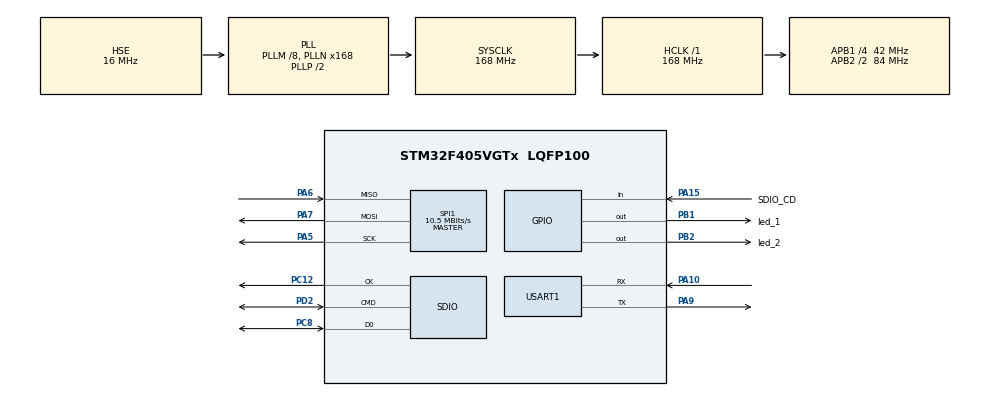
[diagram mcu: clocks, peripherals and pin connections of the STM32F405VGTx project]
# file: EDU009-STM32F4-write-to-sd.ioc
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Dma.Request0=SDIO_RX
Dma.Request1=SDIO_TX
Dma.SDIO_RX.0.Direction=DMA_PERIPH_TO_MEMORY
Dma.SDIO_RX.0.FIFOMode=DMA_FIFOMODE_ENABLE
Dma.SDIO_RX.0.FIFOThreshold=DMA_FIFO_THRESHOLD_FULL
Dma.SDIO_RX.0.Instance=DMA2_Stream3
Dma.SDIO_RX.0.MemBurst=DMA_MBURST_INC4
Dma.SDIO_RX.0.MemDataAlignment=DMA_MDATAALIGN_WORD
Dma.SDIO_RX.0.MemInc=DMA_MINC_ENABLE
Dma.SDIO_RX.0.Mode=DMA_PFCTRL
Dma.SDIO_RX.0.PeriphBurst=DMA_PBURST_INC4
Dma.SDIO_RX.0.PeriphDataAlignment=DMA_PDATAALIGN_WORD
Dma.SDIO_RX.0.PeriphInc=DMA_PINC_DISABLE
Dma.SDIO_RX.0.Priority=DMA_PRIORITY_LOW
Dma.SDIO_TX.1.Direction=DMA_MEMORY_TO_PERIPH
Dma.SDIO_TX.1.FIFOMode=DMA_FIFOMODE_ENABLE
Dma.SDIO_TX.1.FIFOThreshold=DMA_FIFO_THRESHOLD_FULL
Dma.SDIO_TX.1.Instance=DMA2_Stream6
Dma.SDIO_TX.1.MemBurst=DMA_MBURST_INC4
Dma.SDIO_TX.1.MemDataAlignment=DMA_MDATAALIGN_WORD
Dma.SDIO_TX.1.MemInc=DMA_MINC_ENABLE
Dma.SDIO_TX.1.Mode=DMA_PFCTRL
Dma.SDIO_TX.1.PeriphBurst=DMA_PBURST_INC4
Dma.SDIO_TX.1.PeriphDataAlignment=DMA_PDATAALIGN_WORD
Dma.SDIO_TX.1.PeriphInc=DMA_PINC_DISABLE
Dma.SDIO_TX.1.Priority=DMA_PRIORITY_LOW
FATFS.BSP.number=1
FATFS.USE_DMA_CODE_SD=1
FATFS._MAX_SS=4096
FATFS._USE_LFN=1
FATFS0.BSP.STBoard=false
FATFS0.BSP.api=Unknown
FATFS0.BSP.instance=PA15
FATFS0.BSP.ip=GPIO
FATFS0.BSP.mode=Input
FATFS0.BSP.name=Detect_SDIO
FATFS0.BSP.solution=PA15
Mcu.Family=STM32F4
Mcu.Name=STM32F405VGTx
Mcu.Package=LQFP100
NVIC.DMA2_Stream3_IRQn=true\:0\:0\:false\:false\:true\:false\:true\:true
NVIC.DMA2_Stream6_IRQn=true\:0\:0\:false\:false\:true\:false\:true\:true
NVIC.PriorityGroup=NVIC_PRIORITYGROUP_4
NVIC.SDIO_IRQn=true\:0\:0\:false\:false\:true\:true\:true\:true
PA10.Mode=Asynchronous
PA10.Signal=USART1_RX
PA13.Mode=Serial_Wire
PA13.Signal=SYS_JTMS-SWDIO
PA14.Mode=Serial_Wire
PA14.Signal=SYS_JTCK-SWCLK
PA15.GPIO_Label=SDIO_CD
PA15.Signal=GPIO_Input
PA5.Mode=Full_Duplex_Master
PA5.Signal=SPI1_SCK
PA6.Mode=Full_Duplex_Master
PA6.Signal=SPI1_MISO
PA7.Mode=Full_Duplex_Master
PA7.Signal=SPI1_MOSI
PA9.Mode=Asynchronous
PA9.Signal=USART1_TX
PB1.GPIO_Label=led_1
PB1.Signal=GPIO_Output
PB2.GPIO_Label=led_2
PB2.Signal=GPIO_Output
PC12.Mode=SD_1_bit
PC12.Signal=SDIO_CK
PC8.Mode=SD_1_bit
PC8.Signal=SDIO_D0
PD2.Mode=SD_1_bit
PD2.Signal=SDIO_CMD
PH0-OSC_IN.Mode=HSE-External-Oscillator
PH0-OSC_IN.Signal=RCC_OSC_IN
PH1-OSC_OUT.Mode=HSE-External-Oscillator
PH1-OSC_OUT.Signal=RCC_OSC_OUT
ProjectManager.HeapSize=0x2000
ProjectManager.StackSize=0x4000
ProjectManager.TargetToolchain=STM32CubeIDE
RCC.48MHZClocksFreq_Value=48000000
RCC.AHBFreq_Value=168000000
RCC.APB1CLKDivider=RCC_HCLK_DIV4
RCC.APB1Freq_Value=42000000
RCC.APB1TimFreq_Value=84000000
RCC.APB2CLKDivider=RCC_HCLK_DIV2
RCC.APB2Freq_Value=84000000
RCC.APB2TimFreq_Value=168000000
RCC.CortexFreq_Value=168000000
RCC.HCLKFreq_Value=168000000
RCC.HSE_VALUE=16000000
RCC.HSI_VALUE=16000000
RCC.LSE_VALUE=32768
RCC.PLLM=8
RCC.PLLN=168
RCC.PLLQ=7
RCC.PLLSourceVirtual=RCC_PLLSOURCE_HSE
RCC.SYSCLKFreq_VALUE=168000000
RCC.SYSCLKSource=RCC_SYSCLKSOURCE_PLLCLK
RCC.VCOOutputFreq_Value=336000000
SPI1.BaudRatePrescaler=SPI_BAUDRATEPRESCALER_8
SPI1.CalculateBaudRate=10.5 MBits/s
SPI1.Direction=SPI_DIRECTION_2LINES
SPI1.Mode=SPI_MODE_MASTER
SPI1.VirtualType=VM_MASTER
USART1.VirtualMode=VM_ASYNC
VP_FATFS_VS_SDIO.Mode=SDIO
board=custom

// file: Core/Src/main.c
/* USER CODE BEGIN Header */
/**
  ******************************************************************************
  * @file           : main.c
  * @brief          : Main program body
  ******************************************************************************
  * @attention
  *
  * Copyright (c) 2022 STMicroelectronics.
  * All rights reserved.
  *
  * This software is licensed under terms that can be found in the LICENSE file
  * in the root directory of this software component.
  * If no LICENSE file comes with this software, it is provided AS-IS.
  *
  ******************************************************************************
  */
/* USER CODE END Header */
#include "main.h"
#include "fatfs.h"

/* USER CODE BEGIN Includes */
#include "stdio.h"
#include "string.h"

/* USER CODE END Includes */

SD_HandleTypeDef hsd;
DMA_HandleTypeDef hdma_sdio_rx;
DMA_HandleTypeDef hdma_sdio_tx;

SPI_HandleTypeDef hspi1;

UART_HandleTypeDef huart1;
FATFS FatFs;
FIL file;
uint8_t buffer[32];
// Write numbers to the SD card every 1000 ms
uint32_t num = 0;

void SystemClock_Config(void);
static void MX_GPIO_Init(void);
static void MX_DMA_Init(void);
static void MX_SDIO_SD_Init(void);
static void MX_SPI1_Init(void);
static void MX_USART1_UART_Init(void);

int main(void)
{

  /* MCU Configuration--------------------------------------------------------*/

  /* Reset of all peripherals, Initializes the Flash interface and the Systick. */
  HAL_Init();

  /* Configure the system clock */
  SystemClock_Config();

  /* Initialize all configured peripherals */
  MX_GPIO_Init();
  MX_DMA_Init();
  MX_SDIO_SD_Init();
  MX_FATFS_Init();
  MX_SPI1_Init();
  MX_USART1_UART_Init();
  /* USER CODE BEGIN 2 */
  if (f_mount(&FatFs, "", 0) != FR_OK) {
          Error_Handler();
      }

      // Create a new file on the SD card
      if (f_open(&file, "data.txt", FA_CREATE_ALWAYS | FA_WRITE) != FR_OK) {
          Error_Handler();
      }
      // Close the file
      f_close(&file);

  /* USER CODE END 2 */

  /* Infinite loop */
  while (1)
  {

    /* USER CODE BEGIN 3 */
	  HAL_GPIO_WritePin(led_1_GPIO_Port, led_1_Pin, 1);
	  if (BSP_SD_IsDetected() == SD_PRESENT){
		  // Open the file for writing
		  	  if(f_open(&file, "data.txt", FA_WRITE | FA_OPEN_ALWAYS| FA_OPEN_APPEND) != FR_OK) {
		  		  //the code inside here will be changed
		  		  if (f_mount(&FatFs, "", 1) != FR_OK) {
		  		            //Error_Handler();
		  			if (f_mount(&FatFs, "", 0) != FR_OK) {
		  					  		            //Error_Handler();
		  					  		        }
		  		        }
		  	      //Error_Handler();
		  	  }
		  	  // Convert the number to a string
		  	  sprintf((char*)buffer, "%lu\n", num);

		  	  // Write the string to the file
		  	  UINT bytes_written;
		  	  if (f_write(&file, buffer, strlen((char*)buffer), &bytes_written) != FR_OK) {
		  		  //Error_Handler();
		  	  }
		  	  // Close the file
		  	  f_close(&file);
		  	  HAL_GPIO_WritePin(led_1_GPIO_Port, led_1_Pin, 0);

		  	  // Increment the number
		  	  num++;

		  	  // Delay for 1000 ms

	  }

	  HAL_Delay(1000);
  }
  /* USER CODE END 3 */
}

void SystemClock_Config(void)
{
  RCC_OscInitTypeDef RCC_OscInitStruct = {0};
  RCC_ClkInitTypeDef RCC_ClkInitStruct = {0};

  /** Configure the main internal regulator output voltage
  */
  __HAL_RCC_PWR_CLK_ENABLE();
  __HAL_PWR_VOLTAGESCALING_CONFIG(PWR_REGULATOR_VOLTAGE_SCALE1);

  /** Initializes the RCC Oscillators according to the specified parameters
  * in the RCC_OscInitTypeDef structure.
  */
  RCC_OscInitStruct.OscillatorType = RCC_OSCILLATORTYPE_HSE;
  RCC_OscInitStruct.HSEState = RCC_HSE_ON;
  RCC_OscInitStruct.PLL.PLLState = RCC_PLL_ON;
  RCC_OscInitStruct.PLL.PLLSource = RCC_PLLSOURCE_HSE;
  RCC_OscInitStruct.PLL.PLLM = 8;
  RCC_OscInitStruct.PLL.PLLN = 168;
  RCC_OscInitStruct.PLL.PLLP = RCC_PLLP_DIV2;
  RCC_OscInitStruct.PLL.PLLQ = 7;
  if (HAL_RCC_OscConfig(&RCC_OscInitStruct) != HAL_OK)
  {
    Error_Handler();
  }

  /** Initializes the CPU, AHB and APB buses clocks
  */
  RCC_ClkInitStruct.ClockType = RCC_CLOCKTYPE_HCLK|RCC_CLOCKTYPE_SYSCLK
                              |RCC_CLOCKTYPE_PCLK1|RCC_CLOCKTYPE_PCLK2;
  RCC_ClkInitStruct.SYSCLKSource = RCC_SYSCLKSOURCE_PLLCLK;
  RCC_ClkInitStruct.AHBCLKDivider = RCC_SYSCLK_DIV1;
  RCC_ClkInitStruct.APB1CLKDivider = RCC_HCLK_DIV4;
  RCC_ClkInitStruct.APB2CLKDivider = RCC_HCLK_DIV2;

  if (HAL_RCC_ClockConfig(&RCC_ClkInitStruct, FLASH_LATENCY_5) != HAL_OK)
  {
    Error_Handler();
  }
}

static void MX_SDIO_SD_Init(void)
{

  hsd.Instance = SDIO;
  hsd.Init.ClockEdge = SDIO_CLOCK_EDGE_RISING;
  hsd.Init.ClockBypass = SDIO_CLOCK_BYPASS_DISABLE;
  hsd.Init.ClockPowerSave = SDIO_CLOCK_POWER_SAVE_DISABLE;
  hsd.Init.BusWide = SDIO_BUS_WIDE_1B;
  hsd.Init.HardwareFlowControl = SDIO_HARDWARE_FLOW_CONTROL_DISABLE;
  hsd.Init.ClockDiv = 0;

}

static void MX_SPI1_Init(void)
{

  /* SPI1 parameter configuration*/
  hspi1.Instance = SPI1;
  hspi1.Init.Mode = SPI_MODE_MASTER;
  hspi1.Init.Direction = SPI_DIRECTION_2LINES;
  hspi1.Init.DataSize = SPI_DATASIZE_8BIT;
  hspi1.Init.CLKPolarity = SPI_POLARITY_LOW;
  hspi1.Init.CLKPhase = SPI_PHASE_1EDGE;
  hspi1.Init.NSS = SPI_NSS_SOFT;
  hspi1.Init.BaudRatePrescaler = SPI_BAUDRATEPRESCALER_8;
  hspi1.Init.FirstBit = SPI_FIRSTBIT_MSB;
  hspi1.Init.TIMode = SPI_TIMODE_DISABLE;
  hspi1.Init.CRCCalculation = SPI_CRCCALCULATION_DISABLE;
  hspi1.Init.CRCPolynomial = 10;
  if (HAL_SPI_Init(&hspi1) != HAL_OK)
  {
    Error_Handler();
  }

}

static void MX_USART1_UART_Init(void)
{

  huart1.Instance = USART1;
  huart1.Init.BaudRate = 115200;
  huart1.Init.WordLength = UART_WORDLENGTH_8B;
  huart1.Init.StopBits = UART_STOPBITS_1;
  huart1.Init.Parity = UART_PARITY_NONE;
  huart1.Init.Mode = UART_MODE_TX_RX;
  huart1.Init.HwFlowCtl = UART_HWCONTROL_NONE;
  huart1.Init.OverSampling = UART_OVERSAMPLING_16;
  if (HAL_UART_Init(&huart1) != HAL_OK)
  {
    Error_Handler();
  }

}

static void MX_DMA_Init(void)
{

  /* DMA controller clock enable */
  __HAL_RCC_DMA2_CLK_ENABLE();

  /* DMA interrupt init */
  /* DMA2_Stream3_IRQn interrupt configuration */
  HAL_NVIC_SetPriority(DMA2_Stream3_IRQn, 0, 0);
  HAL_NVIC_EnableIRQ(DMA2_Stream3_IRQn);
  /* DMA2_Stream6_IRQn interrupt configuration */
  HAL_NVIC_SetPriority(DMA2_Stream6_IRQn, 0, 0);
  HAL_NVIC_EnableIRQ(DMA2_Stream6_IRQn);

}

static void MX_GPIO_Init(void)
{
  GPIO_InitTypeDef GPIO_InitStruct = {0};

  /* GPIO Ports Clock Enable */
  __HAL_RCC_GPIOH_CLK_ENABLE();
  __HAL_RCC_GPIOA_CLK_ENABLE();
  __HAL_RCC_GPIOB_CLK_ENABLE();
  __HAL_RCC_GPIOC_CLK_ENABLE();
  __HAL_RCC_GPIOD_CLK_ENABLE();

  /*Configure GPIO pin Output Level */
  HAL_GPIO_WritePin(GPIOB, led_1_Pin|led_2_Pin, GPIO_PIN_RESET);

  /*Configure GPIO pins : led_1_Pin led_2_Pin */
  GPIO_InitStruct.Pin = led_1_Pin|led_2_Pin;
  GPIO_InitStruct.Mode = GPIO_MODE_OUTPUT_PP;
  GPIO_InitStruct.Pull = GPIO_NOPULL;
  GPIO_InitStruct.Speed = GPIO_SPEED_FREQ_LOW;
  HAL_GPIO_Init(GPIOB, &GPIO_InitStruct);

  /*Configure GPIO pin : SDIO_CD_Pin */
  GPIO_InitStruct.Pin = SDIO_CD_Pin;
  GPIO_InitStruct.Mode = GPIO_MODE_INPUT;
  GPIO_InitStruct.Pull = GPIO_NOPULL;
  HAL_GPIO_Init(SDIO_CD_GPIO_Port, &GPIO_InitStruct);

}

void Error_Handler(void)
{
  __disable_irq();
  while (1)
  {
  }
}
